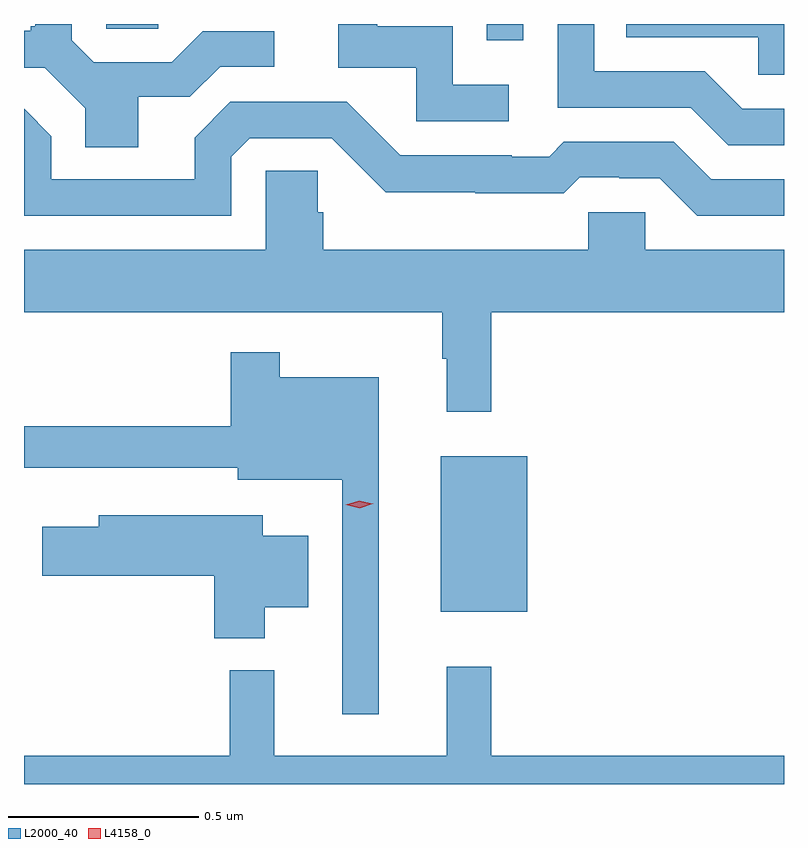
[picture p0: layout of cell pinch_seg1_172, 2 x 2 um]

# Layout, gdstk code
import gdstk
lib = gdstk.Library(unit=1e-6, precision=1e-09)
def R(c, l, rs):  # rectangles x0, y0, x1, y1
    for r in rs: c.add(gdstk.rectangle(r[:2], r[2:], *l))
def P(c, l, *ps):  # polygons
    for p in ps: c.add(gdstk.Polygon(p, *l))
L2000_40 = (2000, 40)
L4158_0 = (4158, 0)

pinch_seg1_172 = lib.new_cell('pinch_seg1_172')
R(pinch_seg1_172, L2000_40, [(1105.223,545.615,1105.45,546.025), (1105.344,547.119,1105.44,547.162), (1104.342,547.149,1104.479,547.162)])
P(pinch_seg1_172, L2000_40, [(1106.126,546.939),(1106.016,546.939),(1105.917,547.038),(1105.626,547.038),(1105.626,547.162),(1105.53,547.162),(1105.53,546.942),(1105.88,546.942),(1105.979,546.843),(1106.126,546.843)],
  [(1104.427,546.97),(1104.562,546.97),(1104.642,547.05),(1104.784,547.05),(1104.784,547.143),(1104.596,547.143),(1104.515,547.062),(1104.309,547.062),(1104.252,547.119),(1104.252,547.162),(1104.155,547.162),(1104.155,547.156),(1104.144,547.156),(1104.144,547.144),(1104.126,547.144),(1104.126,547.047),(1104.18,547.047),(1104.287,546.94),(1104.287,546.838),(1104.427,546.838)],
  [(1106.126,547.162),(1105.711,547.162),(1105.711,547.127),(1106.058,547.127),(1106.058,547.029),(1106.126,547.029)],
  [(1105.402,547.002),(1105.254,547.002),(1105.254,547.156),(1105.055,547.156),(1105.055,547.162),(1104.953,547.162),(1104.953,547.047),(1105.158,547.047),(1105.158,546.906),(1105.402,546.906)],
  [(1104.672,546.813),(1104.72,546.861),(1104.936,546.861),(1105.078,546.719),(1105.314,546.719),(1105.314,546.717),(1105.547,546.717),(1105.589,546.759),(1105.692,546.759),(1105.692,546.756),(1105.799,546.756),(1105.898,546.657),(1106.126,546.657),(1106.126,546.753),(1105.935,546.753),(1105.836,546.852),(1105.547,546.852),(1105.508,546.813),(1105.409,546.813),(1105.409,546.816),(1105.116,546.816),(1104.975,546.957),(1104.669,546.957),(1104.575,546.863),(1104.575,546.753),(1104.198,546.753),(1104.198,546.867),(1104.126,546.939),(1104.126,546.657),(1104.672,546.657)],
  [(1105.355,546.404),(1106.126,546.404),(1106.126,546.568),(1105.761,546.568),(1105.761,546.666),(1105.611,546.666),(1105.611,546.568),(1104.914,546.568),(1104.914,546.666),(1104.899,546.666),(1104.899,546.776),(1104.762,546.776),(1104.762,546.568),(1104.126,546.568),(1104.126,546.404),(1105.227,546.404),(1105.227,546.281),(1105.238,546.281),(1105.238,546.141),(1105.355,546.141)],
  [(1105.06,546.232),(1104.799,546.232),(1104.799,546.298),(1104.67,546.298),(1104.67,546.103),(1104.126,546.103),(1104.126,545.994),(1104.689,545.994),(1104.689,545.963),(1104.963,545.963),(1104.963,545.346),(1105.06,545.346)],
  [(1104.76,545.627),(1104.874,545.627),(1104.874,545.815),(1104.754,545.815),(1104.754,545.869),(1104.323,545.869),(1104.323,545.839),(1104.174,545.839),(1104.174,545.71),(1104.626,545.71),(1104.626,545.546),(1104.76,545.546)],
  [(1106.126,545.236),(1105.355,545.236),(1105.355,545.47),(1105.238,545.47),(1105.238,545.236),(1104.785,545.236),(1104.785,545.461),(1104.667,545.461),(1104.667,545.236),(1104.126,545.236),(1104.126,545.162),(1106.126,545.162)])
P(pinch_seg1_172, L4158_0, [(1105.009,545.888),(1104.973,545.897),(1104.973,545.897),(1104.973,545.897),(1105.008,545.908),(1105.044,545.9),(1105.045,545.899),(1105.044,545.899)])

lib.write_gds('pinch_seg1_172.gds')
